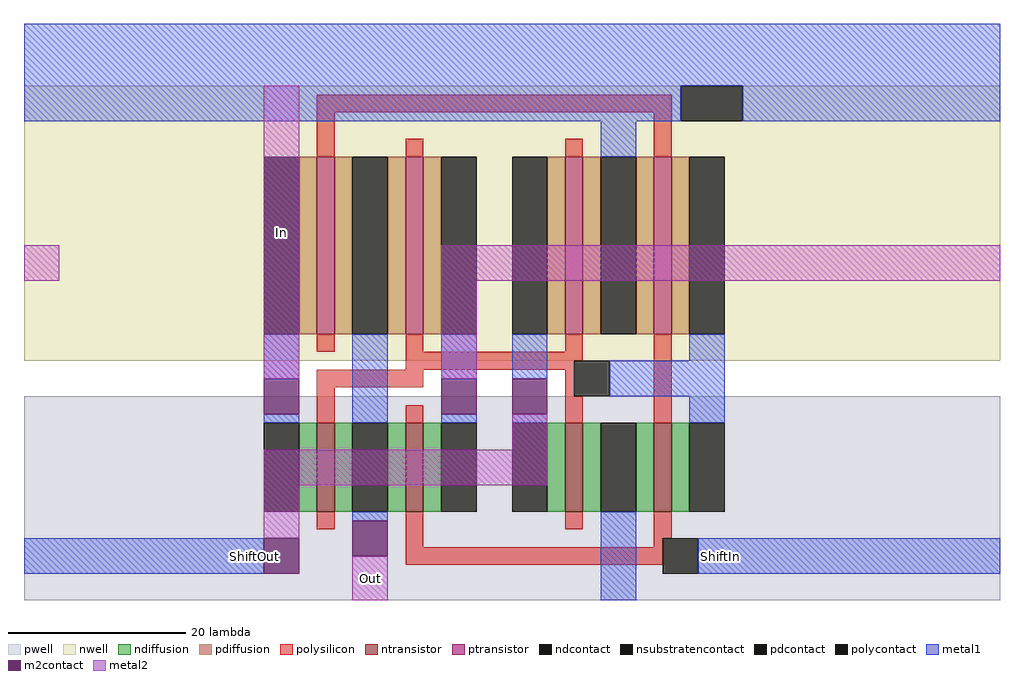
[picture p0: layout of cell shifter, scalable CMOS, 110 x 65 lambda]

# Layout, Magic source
magic
tech scmos
<< pwell >>
rect -35 3 75 26
<< nwell >>
rect -35 30 75 61
<< polysilicon >>
rect -2 58 38 60
rect -2 53 0 58
rect 8 53 10 55
rect 26 53 28 55
rect 36 53 38 58
rect -2 31 0 33
rect 8 31 10 33
rect 26 31 28 33
rect 8 30 28 31
rect 8 29 27 30
rect -2 27 10 29
rect -2 23 0 27
rect 26 26 27 29
rect 8 23 10 25
rect 26 23 28 26
rect 36 23 38 33
rect -2 11 0 13
rect 8 9 10 13
rect 26 11 28 13
rect 36 10 38 13
rect 36 9 37 10
rect 8 7 37 9
<< ndiffusion >>
rect -4 13 -2 23
rect 0 13 2 23
rect 6 13 8 23
rect 10 13 12 23
rect 24 13 26 23
rect 28 13 30 23
rect 34 13 36 23
rect 38 13 40 23
<< pdiffusion >>
rect -4 33 -2 53
rect 0 33 2 53
rect 6 33 8 53
rect 10 33 12 53
rect 24 33 26 53
rect 28 33 30 53
rect 34 33 36 53
rect 38 33 40 53
<< metal1 >>
rect -35 61 75 68
rect -35 57 39 61
rect 46 57 75 61
rect 30 53 34 57
rect -8 28 -4 33
rect -8 23 -4 24
rect 2 23 6 33
rect 12 28 16 33
rect 12 23 16 24
rect 20 28 24 33
rect 40 30 44 33
rect 31 26 44 30
rect 20 23 24 24
rect 40 23 44 26
rect 2 12 6 13
rect -35 6 -8 10
rect 30 3 34 13
rect 41 6 75 10
<< metal2 >>
rect -35 39 -31 43
rect -8 28 -4 61
rect 12 39 75 43
rect 12 28 16 39
rect 20 20 24 24
rect -8 16 24 20
rect -8 10 -4 16
rect 2 3 6 8
<< ntransistor >>
rect -2 13 0 23
rect 8 13 10 23
rect 26 13 28 23
rect 36 13 38 23
<< ptransistor >>
rect -2 33 0 53
rect 8 33 10 53
rect 26 33 28 53
rect 36 33 38 53
<< polycontact >>
rect 27 26 31 30
rect 37 6 41 10
<< ndcontact >>
rect -8 13 -4 23
rect 2 13 6 23
rect 12 13 16 23
rect 20 13 24 23
rect 30 13 34 23
rect 40 13 44 23
<< pdcontact >>
rect -8 33 -4 53
rect 2 33 6 53
rect 12 33 16 53
rect 20 33 24 53
rect 30 33 34 53
rect 40 33 44 53
<< m2contact >>
rect -8 24 -4 28
rect 12 24 16 28
rect 20 24 24 28
rect -8 6 -4 10
rect 2 8 6 12
<< nsubstratencontact >>
rect 39 57 46 61
<< labels >>
rlabel metal2 2 3 6 8 1 Out
rlabel metal1 -10 6 -8 10 3 ShiftOut
rlabel metal1 41 6 46 10 7 ShiftIn
rlabel metal2 -8 28 -4 61 3 In
<< end >>
